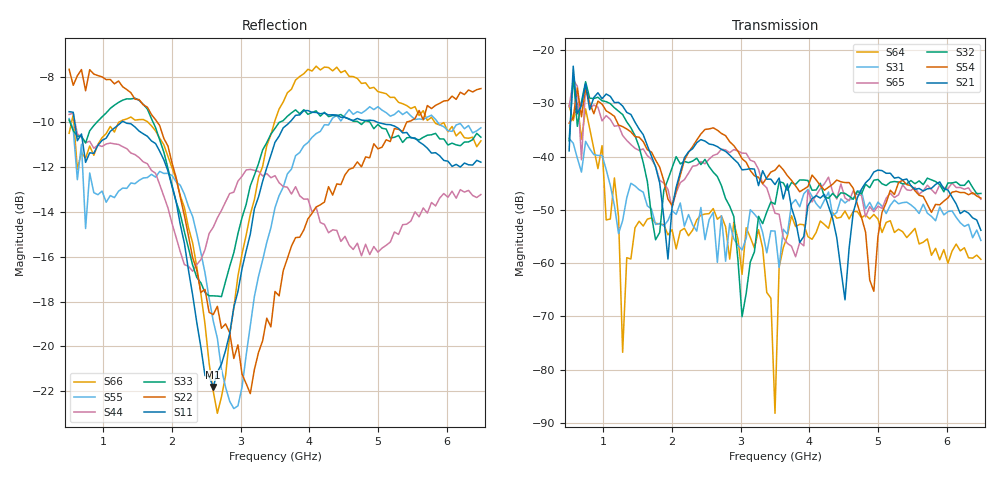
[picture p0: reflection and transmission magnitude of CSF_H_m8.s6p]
!Keysight Technologies,M9804A,MY58100912,A.14.10.03
!Date: Thursday, April 27, 2023 10:28:33
!Correction: S11(C  6-Port  )
!S12(C  6-Port  )
!S13(C  6-Port  )
!S14(C  6-Port  )
!S15(C  6-Port  )
!S16(C  6-Port  )
!S21(C  6-Port  )
!S22(C  6-Port  )
!S23(C  6-Port  )
!S24(C  6-Port  )
!S25(C  6-Port  )
!S26(C  6-Port  )
!S31(C  6-Port  )
!S32(C  6-Port  )
!S33(C  6-Port  )
!S34(C  6-Port  )
!S35(C  6-Port  )
!S36(C  6-Port  )
!S41(C  6-Port  )
!S42(C  6-Port  )
!S43(C  6-Port  )
!S44(C  6-Port  )
!S45(C  6-Port  )
!S46(C  6-Port  )
!S51(C  6-Port  )
!S52(C  6-Port  )
!S53(C  6-Port  )
!S54(C  6-Port  )
!S55(C  6-Port  )
!S56(C  6-Port  )
!S61(C  6-Port  )
!S62(C  6-Port  )
!S63(C  6-Port  )
!S64(C  6-Port  )
!S65(C  6-Port  )
!S66(C  6-Port  )
!S6P File: Measurement: :
# Hz S  RI  R 50
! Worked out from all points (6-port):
!   101 points, 500 MHz to 6.5 GHz, reference 50 ohm
!   strongest paths, dB at 500 MHz, 2 GHz, 3.5 GHz, 5 GHz, 6.5 GHz:
!     S21: -38.9, -49.6, -45.3, -42.5, -53.8
!     S54: -33.7, -49.2, -42.6, -55.0, -47.8
!     S32: -37.0, -42.1, -49.0, -44.3, -46.9
!     S65: -30.7, -49.5, -50.6, -49.3, -48.0
!     S31: -36.6, -50.2, -54.0, -48.6, -55.8
!     S64: -30.4, -53.7, -88.2, -51.7, -59.3
!   lowest |S11| = -21.8 dB at 2.6 GHz (marker M1), VSWR 1.18, Z = 42.7 + j1.92 ohm
!   |S11| at or under -10 dB: 580.3 MHz to 1.269 GHz (688.5 MHz wide, 74.5 % of centre); 1.3 GHz to 3.718 GHz (2.418 GHz wide, 96.4 % of centre); 4.981 GHz to end of sweep
